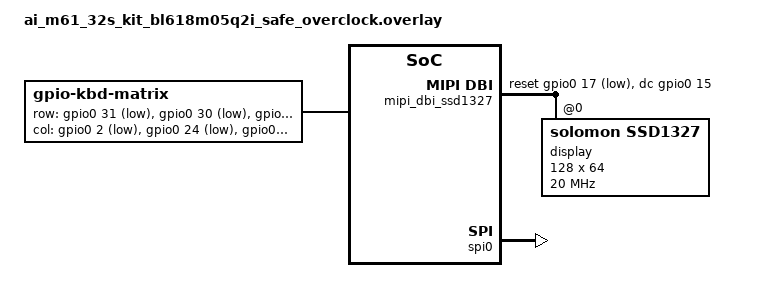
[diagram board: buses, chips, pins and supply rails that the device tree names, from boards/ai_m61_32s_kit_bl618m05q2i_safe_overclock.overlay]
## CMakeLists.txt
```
cmake_minimum_required(VERSION 3.20.0)

find_package(Zephyr REQUIRED HINTS $ENV{ZEPHYR_BASE})
project(scene_previewer)

target_sources(app PRIVATE src/main.c)

zephyr_include_directories(include)

add_subdirectory(scenes)
add_subdirectory(misc)

set(TOOLS_FOLDER ${CMAKE_CURRENT_SOURCE_DIR}/../../../zephyr_3d_game_template2/tools)

set(SCENE_TO_PREVIEW ${CONFIG_SCENE_TO_PREVIEW})
zephyr_compile_definitions(
-DSCENE_TO_PREVIEW=${SCENE_TO_PREVIEW}
)

add_custom_command(
OUTPUT generated/generated_objects.h
COMMAND python3 ${CMAKE_CURRENT_SOURCE_DIR}/generate_objects.py ${TOOLS_FOLDER} ${CMAKE_CURRENT_SOURCE_DIR}/${CONFIG_DATA_PATH} generated
WORKING_DIRECTORY ${CMAKE_CURRENT_BINARY_DIR}
)

add_custom_target(generate_objects DEPENDS generated/generated_objects.h)

zephyr_include_directories(${CMAKE_CURRENT_BINARY_DIR}/generated)

add_dependencies(app generate_objects)
```

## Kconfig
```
menu "Zephyr"
source "Kconfig.zephyr"
endmenu

module = SCENE_PREVIEWER
module-str = SCENE_PREVIEWER
source "subsys/logging/Kconfig.template.log_config"

config SCENE_TO_PREVIEW
	string "Scene to preview"
	default "demo"

config SCENE_HAS_PLAYER
	bool "Scene controls the player object"
	default n
```

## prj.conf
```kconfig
CONFIG_DISPLAY=y
CONFIG_LOG=y
CONFIG_L3=y
CONFIG_ENGINE=y
CONFIG_DEFAULT_UI=n
#CONFIG_LOG_DEFAULT_LEVEL=4
CONFIG_HEAP_MEM_POOL_SIZE=4096
CONFIG_INPUT=y
CONFIG_TIMING_FUNCTIONS=y
CONFIG_SPEED_OPTIMIZATIONS=y
CONFIG_LOG_PERFORMANCE=n
CONFIG_TEST_RANDOM_GENERATOR=y
CONFIG_TIMER_RANDOM_GENERATOR=y
CONFIG_GPIO=y

#LVGL
CONFIG_LVGL=y
CONFIG_LV_USE_LOG=y
CONFIG_LV_Z_FLUSH_THREAD=n
CONFIG_LV_Z_MEM_POOL_SIZE=8192
CONFIG_LV_FONT_UNSCII_8=y
CONFIG_LV_CONF_MINIMAL=y
CONFIG_LV_USE_LABEL=y
CONFIG_COMPILER_OPT="-Ofast -ffast-math"

CONFIG_DATA_PATH="../../data"
```

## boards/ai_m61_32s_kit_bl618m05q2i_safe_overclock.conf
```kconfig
CONFIG_TARGET_PROCESS_FPS=30
CONFIG_TARGET_RENDER_FPS=25
CONFIG_RESOLUTION_X=128
CONFIG_RESOLUTION_Y=64
CONFIG_SSD1327_DEFAULT_CONTRAST=160
CONFIG_SSD1327_CONV_BUFFER_LINES=64
CONFIG_SSD1325_DEFAULT_CONTRAST=160
CONFIG_SSD1325_CONV_BUFFER_LINES=64
CONFIG_SSD1322_DEFAULT_GRAYSCALE=y
CONFIG_SSD1322_CONV_BUFFER_LINES=128
CONFIG_LV_DEF_REFR_PERIOD=5
CONFIG_ISR_STACK_SIZE=8192
CONFIG_MAIN_STACK_SIZE=8192
CONFIG_BLIT_THREAD_STACK=8192
CONFIG_RENDER_THREAD_STACK=8192
CONFIG_PROCESS_THREAD_STACK=8192
CONFIG_LOG_BUFFER_SIZE=4096
CONFIG_COMPILER_OPT="-Ofast -ffast-math -funroll-loops -finline-functions -falign-functions=4 -falign-jumps=4 -falign-loops=4 -march=unset -march=rv32imafc_zicsr_zifencei_xtheadba_xtheadbb_xtheadbs -fpeel-loops"
```

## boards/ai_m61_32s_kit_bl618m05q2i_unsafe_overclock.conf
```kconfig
CONFIG_TARGET_PROCESS_FPS=35
CONFIG_TARGET_RENDER_FPS=26
CONFIG_RESOLUTION_X=128
CONFIG_RESOLUTION_Y=64
CONFIG_SSD1327_DEFAULT_CONTRAST=160
CONFIG_SSD1327_CONV_BUFFER_LINES=64
CONFIG_SSD1325_DEFAULT_CONTRAST=160
CONFIG_SSD1325_CONV_BUFFER_LINES=64
CONFIG_LV_DEF_REFR_PERIOD=5
CONFIG_ISR_STACK_SIZE=8192
CONFIG_MAIN_STACK_SIZE=8192
CONFIG_BLIT_THREAD_STACK=8192
CONFIG_RENDER_THREAD_STACK=8192
CONFIG_PROCESS_THREAD_STACK=8192
CONFIG_LOG_BUFFER_SIZE=4096
CONFIG_COMPILER_OPT="-Ofast -ffast-math -funroll-loops -finline-functions -falign-functions=4 -falign-jumps=4 -falign-loops=4 -mbranch-cost=256"
```

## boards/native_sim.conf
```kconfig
CONFIG_SDL_DISPLAY_ZOOM_PCT=250
#CONFIG_SDL_DISPLAY_ZOOM_PCT=400
#CONFIG_SDL_DISPLAY_DEFAULT_PIXEL_FORMAT_RGB_565=y
CONFIG_RESOLUTION_X=1024
CONFIG_RESOLUTION_Y=512
CONFIG_TARGET_PROCESS_FPS=30
CONFIG_TARGET_RENDER_FPS=30
CONFIG_SYS_CLOCK_TICKS_PER_SEC=1000
CONFIG_LV_COLOR_DEPTH_8=y
CONFIG_HEAP_MEM_POOL_SIZE=65536
CONFIG_MAIN_STACK_SIZE=65536
CONFIG_LV_Z_MEM_POOL_SIZE=131072
```

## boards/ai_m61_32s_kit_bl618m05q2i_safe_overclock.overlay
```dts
#include <zephyr/dt-bindings/input/keymap.h>

&pinctrl {
	spi0_default: spi0_default {
		group1 {
			pinmux = <GPIO11_SPI_MOSI>, <GPIO13_SPI_SCLK>;
			drive-strength = <1>;
			input-schmitt-enable;
		};
	};
};

/ {

	mipi_dbi_ssd1327 {
		compatible = "zephyr,mipi-dbi-spi";
		spi-dev = <&spi0>;
		dc-gpios = <&gpio0 15 GPIO_ACTIVE_HIGH>;
		reset-gpios = <&gpio0 17 GPIO_ACTIVE_LOW>;
		write-only;
		#address-cells = <1>;
		#size-cells = <0>;

		display: ssd1327@0 {
			compatible = "solomon,ssd1327";
			mipi-max-frequency = <20000000>;
			reg = <0>;
			width = <128>;
			height = <64>;
			prechargep = <0x5>;
			precharge-voltage = <0x7>;
			remap-value = <0x53>;
			oscillator-freq = <0xA1>;
			display-offset = <0x40>;
			start-line = <0>;
			multiplex-ratio = <0x3f>;
			phase-length = <0x29>;
			mipi-mode = "MIPI_DBI_MODE_SPI_4WIRE";
			grayscale-table = [04 06 08 0A 0C 0D 10 12 14 16 18 1C 20 24 3C];
		};
		// display: ssd1322@0 {
		// 	compatible = "solomon,ssd1322";
		// 	mipi-max-frequency = <21000000>;
		// 	reg = <0>;
		// 	oscillator-freq = <0xe1>;
		// 	width = <240>;
		// 	height = <128>;
		// 	column-offset=<24>;
		// 	row-offset=<0>;
		// 	start-line = <0>;
		// 	mux-ratio = <127>;
		// 	vcomh-voltage = <0x6>;
		// 	precharge-voltage = <0x1f>;
		// 	phase-length = <0xd2>;
		// 	mipi-mode = "MIPI_DBI_MODE_SPI_4WIRE";
		// 	remap-nibble;
		// 	/* Commented remaps, offset is 36, otherwise 24 */
		// 	remap-columns;
		// 	remap-rows;
		// 	remap-com-odd-even-split;
		// 	grayscale-enhancement;
		// 	grayscale-enhancement-lg;
		// 	grayscale-table = [34 38 3A 40 48 50 58 60 68 70 78 80 96 A0 AA];
		// };
	};
};

&spi0 {
	status = "okay";
	cs-gpios = <&gpio0 16 GPIO_ACTIVE_LOW>;

	pinctrl-0 = <&spi0_default>;
	pinctrl-names = "default";
};

// &i2c0 {
// 	status = "okay";
//
// 	clock-frequency = <I2C_BITRATE_FAST_PLUS>;
//
// 	display: ssd1306@3c {
// 		compatible = "sinowealth,sh1106";
// 		reg = <0x3c>;
// 		width = <128>;
// 		height = <64>;
// 		segment-offset = <0>;
// 		page-offset = <0>;
// 		display-offset = <0>;
// 		multiplex-ratio = <63>;
// 		segment-remap;
// 		com-invdir;
// 		prechargep = <0x22>;
// 	};
// };

// &i2c0 {
// 	status = "okay";
//
// 	clock-frequency = <I2C_BITRATE_FAST_PLUS>;
//
// 	display: ssd1309@3c {
// 		compatible = "solomon,ssd1309fb";
// 		reg = <0x3c>;
// 		width = <128>;
// 		height = <64>;
// 		segment-offset = <0>;
// 		page-offset = <0>;
// 		display-offset = <0>;
// 		multiplex-ratio = <63>;
// 		segment-remap;
// 		com-invdir;
// 		prechargep = <0x22>;
// 	};
// };


/ {
	chosen {
		zephyr,display = &display;
	};
};

&gpio0 {
	status = "okay";
};

/ {
	kbd-matrix {
		compatible = "gpio-kbd-matrix";
		row-gpios = <&gpio0 31 (GPIO_PULL_UP | GPIO_ACTIVE_LOW)>,
					<&gpio0 30 (GPIO_PULL_UP | GPIO_ACTIVE_LOW)>,
					<&gpio0 25 (GPIO_PULL_UP | GPIO_ACTIVE_LOW)>,
					<&gpio0 27 (GPIO_PULL_UP | GPIO_ACTIVE_LOW)>,
					<&gpio0 29 (GPIO_PULL_UP | GPIO_ACTIVE_LOW)>;
		col-gpios = <&gpio0 2 GPIO_ACTIVE_LOW>,
					<&gpio0 24 GPIO_ACTIVE_LOW>,
					<&gpio0 28 GPIO_ACTIVE_LOW>,
					<&gpio0 26 GPIO_ACTIVE_LOW>;
		keymap {
			compatible = "input-keymap";
			keymap = <
				MATRIX_KEY(3, 1, INPUT_KEY_W)
				MATRIX_KEY(4, 1, INPUT_KEY_S)
				MATRIX_KEY(4, 0, INPUT_KEY_A)
				MATRIX_KEY(4, 2, INPUT_KEY_D)
				MATRIX_KEY(3, 0, INPUT_KEY_LEFT)
				MATRIX_KEY(3, 2, INPUT_KEY_RIGHT)
				MATRIX_KEY(1, 3, INPUT_KEY_UP)
				MATRIX_KEY(2, 3, INPUT_KEY_DOWN)
				MATRIX_KEY(3, 3, INPUT_KEY_LEFTSHIFT)
				MATRIX_KEY(4, 3, INPUT_KEY_SPACE)
			>;
			row-size = <5>;
			col-size = <4>;
		};
	};
};


&clk_aupll {
	top-frequency = <DT_FREQ_M(480)>;
};

&clk_wifipll {
	top-frequency = <BL61X_WIFIPLL_TOP_FREQ>;
};
```

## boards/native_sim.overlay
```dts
#include <zephyr/dt-bindings/input/input-event-codes.h>

&sdl_dc {
	compatible = "zephyr,sdl-dc";
	height = <512>;
	width = <1024>;
	pixel-format = <PANEL_PIXEL_FORMAT_L_8>;
};

/ {
	soc {
		evdev: evdev {
			compatible = "zephyr,native-linux-evdev";
		};
	};
};
```

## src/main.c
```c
#include <zephyr/kernel.h>
#include <zephyr/device.h>
#include <zephyr/drivers/display.h>
#include <zephyr/input/input.h>
#include <zephyr/timing/timing.h>
#include <stdio.h>
#include <stdlib.h>
#include <zephyr/random/random.h>
#include <math.h>

#include <zephyr/logging/log.h>
LOG_MODULE_REGISTER(main);

#include "engine.h"

#include "utility.h"

#include "logo_scene.h"

#include "scenes.h"

#include "ui/ui_style.h"

static const struct device *display_device = DEVICE_DT_GET(DT_CHOSEN(zephyr_display));

int blit_display(L3_COLORTYPE *buffer, uint16_t x, uint16_t y, uint16_t size_x, uint16_t size_y)
{
	return blit_select_for_me(buffer, x, y, size_x, size_y);
}

typedef struct {
	L3_Unit vx;
	L3_Unit vy;
	L3_Unit z;
	L3_Unit x;
	L3_Unit speedmul;
	L3_Unit jump;
	L3_Unit xrot;
} Controls;

static Engine_Object* player = 0;
static Controls controls = {0};
static uint64_t fps = CONFIG_TARGET_PROCESS_FPS;

static void process() {
	L3_Camera *camera = engine_getcamera();

	if (player != 0) {
		//LOG_ERR("\r\b%d %d %d", player->visual.transform.translation.x, player->visual.transform.translation.y, player->visual.transform.translation.z);
		player->visual.transform.rotation.y += controls.vy;
		player->visual.transform.rotation.x += controls.vx;
		if (player->visual.transform.rotation.y > L3_F/2) player->visual.transform.rotation.y = -L3_F/2;
		if (player->visual.transform.rotation.y < -L3_F/2) player->visual.transform.rotation.y = L3_F/2;
		if (player->visual.transform.rotation.x > L3_F/2) player->visual.transform.rotation.x = -L3_F/2;
		if (player->visual.transform.rotation.x < -L3_F/2) player->visual.transform.rotation.x = L3_F/2;

		L3_Vec4 forward = {0, 0, L3_F, L3_F};
		L3_Vec4 left = {-L3_F, 0, 0, L3_F};
		L3_Mat4 transMat;

		L3_makeRotationMatrixZXY(player->visual.transform.rotation.x,
							player->visual.transform.rotation.y,
							0,
							transMat);

		L3_vec3Xmat4(&forward, transMat);
		L3_vec3Xmat4(&left, transMat);

		player->visual.transform.translation.x += controls.z * forward.x / L3_F;
		player->visual.transform.translation.y += controls.z * forward.y / L3_F;
		player->visual.transform.translation.z += controls.z * forward.z / L3_F;
		player->visual.transform.translation.x += controls.x * left.x / L3_F;
		player->visual.transform.translation.y += controls.x * left.y / L3_F;
		player->visual.transform.translation.z += controls.x * left.z / L3_F;

		camera->transform = player->visual.transform;
	}

#ifdef CONFIG_SDL_DISPLAY
		printf("\r\b%d %d %d %d %d %d, pfps: %d      ",
			camera->transform.translation.x,
			camera->transform.translation.y,
			camera->transform.translation.z,
			camera->transform.rotation.x,
			camera->transform.rotation.y,
			camera->transform.rotation.z,
			(int)(fps));
#endif
}

static void update_controls(struct input_event *evt, void *user_data)
{
	Controls *cont = user_data;

	if (evt->code == INPUT_KEY_UP) {
		if (evt->value)
			cont->vx = 5;
		else
			cont->vx = 0;
	} else if (evt->code == INPUT_KEY_DOWN) {
		if (evt->value)
			cont->vx = -5;
		else
			cont->vx = 0;
	}
	if (evt->code == INPUT_KEY_LEFT) {
		if (evt->value)
			cont->vy = 15;
		else
			cont->vy = 0;
	} else if (evt->code == INPUT_KEY_RIGHT) {
		if (evt->value)
			cont->vy = -15;
		else
			cont->vy = 0;
	}
	if (evt->code == INPUT_KEY_W) {
		if (evt->value)
			cont->z = E_SPEED(5*L3_F*cont->speedmul);
		else
			cont->z = 0;
	} else if (evt->code == INPUT_KEY_S) {
		if (evt->value)
			cont->z = -E_SPEED(5*L3_F*cont->speedmul);
		else
			cont->z = 0;
	}

	if (evt->code == INPUT_KEY_A) {
		if (evt->value)
			cont->x = E_SPEED(5*L3_F*cont->speedmul);
		else
			cont->x = 0;
	} else if (evt->code == INPUT_KEY_D) {
		if (evt->value)
			cont->x = -E_SPEED(5*L3_F*cont->speedmul);
		else
			cont->x = 0;
	}

	if (evt->code == INPUT_KEY_LEFTSHIFT) {
		if (evt->value)
			cont->speedmul = 8;
		else
			cont->speedmul = 1;
	}

	if (evt->code == INPUT_KEY_PAGEUP) {
		if (!evt->value) {
			fps = fps * 1.25f;
			engine_set_process_fps(fps);
		}
	}

	if (evt->code == INPUT_KEY_PAGEDOWN) {
		if (!evt->value) {
			fps = fps * 0.8f;
			engine_set_process_fps(fps);
		}
	}
}

INPUT_CALLBACK_DEFINE(0, update_controls, &controls);

int main()
{
	for (int i = 0; i < DT_ZEPHYR_DISPLAYS_COUNT; i++) {
		if (!device_is_ready(engine_display_devices[i])) {
			LOG_ERR("Display device %d is not ready", i);
			return -ENODEV;
		}
	}

	timing_init();
	timing_start();

	k_msleep(100);
	display_blanking_on(display_device);
	display_blanking_off(display_device);

	engine_UI_set_area(0,0, CONFIG_RESOLUTION_X, CONFIG_RESOLUTION_Y);

	//display_set_contrast(display_device, 210);

	timing_init();
	timing_start();

	init_ui_style();
	init_engine(&process);

	//lv_obj_add_style(lv_screen_active(), &ui_style, LV_PART_MAIN);

	engine_switchscene(&logo_scene);
	k_msleep(100);

	//engine_getcamera()->focalLength = 12;

	engine_switchscene(&SCENE_TO_PREVIEW);

#ifndef CONFIG_SCENE_HAS_PLAYER
	/* 'player' object */
	Engine_Object tmp = {0};
	L3_transform3DSet(0 * L3_F,0,-3*L3_F,0,0,0,L3_F,L3_F,L3_F,&(tmp.visual.transform));
	tmp.view_range = 16 * L3_F;
	tmp.visual_type = ENGINE_VISUAL_NOTHING;
	player = engine_add_object(tmp);
	controls.speedmul = 1;
#endif

	return 0;
}
```
